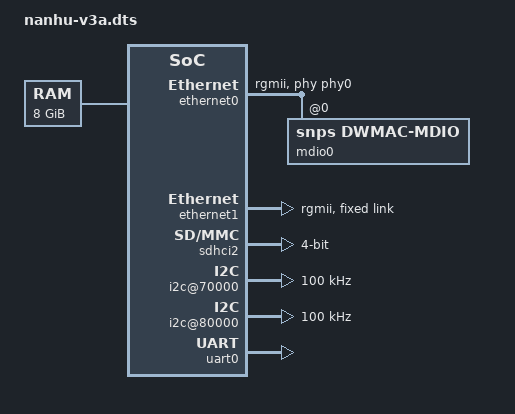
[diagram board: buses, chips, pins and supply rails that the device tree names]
// SPDX-License-Identifier: (GPL-2.0 OR MIT)
/* Copyright (c) 2023-2024 BOSC */

/dts-v1/;

/ {
	#address-cells = <2>;
	#size-cells = <2>;
	compatible = "bosc,nanhu-v3a";

	cpus {
		#address-cells = <1>;
		#size-cells = <0>;
	        timebase-frequency = <24000000>;

		cpu0: cpu@0 {
			clock-frequency = <100000000>;
			compatible = "bosc,nanhu-v3a", "riscv";
			d-cache-block-size = <64>;
			d-cache-sets = <64>;
			d-cache-size = <16384>;
			d-tlb-sets = <1>;
			d-tlb-size = <32>;
			device_type = "cpu";
			i-cache-block-size = <64>;
			i-cache-sets = <64>;
			i-cache-size = <16384>;
			i-tlb-sets = <1>;
			i-tlb-size = <32>;
			mmu-type = "riscv,sv39";
			next-level-cache = <&memory>;
			reg = <0x0>;
			riscv,isa = "rv64imafdcv";
			status = "okay";
			timebase-frequency = <24000000>;
			tlb-split;

			cpu0_intc: interrupt-controller {
				#interrupt-cells = <1>;
				compatible = "riscv,cpu-intc";
				interrupt-controller;
			};
		};

		cpu1: cpu@1 {
			clock-frequency = <0>;
			compatible = "bosc,nanhu-v3a", "riscv";
			d-cache-block-size = <64>;
			d-cache-sets = <64>;
			d-cache-size = <16384>;
			d-tlb-sets = <1>;
			d-tlb-size = <32>;
			device_type = "cpu";
			i-cache-block-size = <64>;
			i-cache-sets = <64>;
			i-cache-size = <16384>;
			i-tlb-sets = <1>;
			i-tlb-size = <32>;
			mmu-type = "riscv,sv39";
			next-level-cache = <&memory>;
			reg = <0x1>;
			riscv,isa = "rv64imafdcv";
			status = "okay";
			timebase-frequency = <24000000>;
			tlb-split;

			cpu1_intc: interrupt-controller {
				#interrupt-cells = <1>;
				compatible = "riscv,cpu-intc";
				interrupt-controller;
			};
		};

	};

	soc {
		#address-cells = <2>;
		#size-cells = <2>;
		compatible = "bosc,nanhu-v3a-soc", "simple-bus";
		ranges;


		clint0: clint@38000000 {
			compatible = "riscv,clint0";
			interrupts-extended = <&cpu0_intc 3 &cpu0_intc 7 &cpu1_intc 3 &cpu1_intc 7>;
			reg = <0x0 0x38000000 0x0 0x10000>;
			reg-names = "control";
			clock-frequency-mhz = <10>;
		};

		PLIC: interrupt-controller@3c000000 {
			#interrupt-cells = <1>;
			compatible = "riscv,plic0";
			interrupt-controller;
			interrupts-extended = <&cpu0_intc 0xb &cpu0_intc 0x9 &cpu1_intc 0xb &cpu1_intc 0x9>;
			reg = <0 0x3c000000 0 0x4000000>;
			reg-names = "control";
			riscv,max-priority = <7>;
			riscv,ndev = <128>;
		};

		clkc: misc_clk_0 {
			#clock-cells = <0>;
			clock-frequency = <100000000>;
			compatible = "fixed-clock";
		};
		clkb: misc_clk_1 {
			#clock-cells = <0>;
			clock-frequency = <25000000>;
			compatible = "fixed-clock";
		};
                  
                ethernet0: ethernet@190000 {
                        compatible = "st,stm32-dwmac", "snps,dwmac-3.50a";
                        reg = <0 0x190000 0 0x10000>;
                        reg-names = "stmmaceth";
                        interrupt-parent = <&PLIC>;
                        interrupts = <76 75 74>;
                        interrupt-names = "eth_lpi", "macirq", "eth_wake_irq";
                        clock-names = "stmmaceth";
                        clocks = <&clkc>;
                        snps,pbl = <2>;
                        snps,mixed-burst;
                        phy-mode = "rgmii";
                        phy-handle = <&phy0>;
                        mdio0: midi-bus@0 {
                             #address-cells = <0x1>;
                             #size-cells = <0x0>;
                             compatible = "snps,dwmac-mdio";
                             phy0: phy@0 {
                                phyaddr = <0x0>;
                                compatible = "marvell,88E1510";
                                device_type = "ethernet-phy";
                                reg = <0x0>;
                             };
                             phy1: phy@1 {
                                phyaddr = <0x1>;
                                compatible = "marvell,88E1510";
                                device_type = "ethernet-phy";
                                reg = <0x1>;
                             };
                        };
                };
                ethernet1: ethernet@1a0000 {
                        compatible = "st,stm32-dwmac", "snps,dwmac-3.50a";
                        reg = <0 0x1a0000 0 0x10000>;
                        reg-names = "stmmaceth1";
                        interrupt-parent = <&PLIC>;
                        interrupts = <73 72 71>;
                        interrupt-names = "eth_lpi", "macirq", "eth_wake_irq";
                        clock-names = "stmmaceth";
                        clocks = <&clkc>;
                        snps,pbl = <2>;
                        snps,mixed-burst;
                        phy-mode = "rgmii";
                        fixed-link{
                            speed =  <1000>;
                            full-duplex;
                            pause;
                            asym-pause;
                        };
                };

               sdhci2: sdhci@1200000 {
	               compatible = "snps,dwcmshc-sdhci";
	               reg = <0 0x1200000 0 0x20000>;
	               interrupt-parent = <&PLIC>;
	               interrupts = <77 78>;
	               clocks = <&clkb>;
	               clock-names = "core";
                       no-1-8-v;
	               disable-wp;
	               bus-width = <4>;
		       max_req_size = <4096>;
		       status = "okay";
	       };

               i2c0_clock: i2c0_clck {            
                        #clock-cells = <0>;
                        clock-frequency = <100000000>;
                        compatible = "fixed-clock";
               };
            
               i2c@70000 { 
                        compatible = "snps,designware-i2c";  
                        #address-cells = <1>; 
                        #size-cells = <0>;
                        reg = <0x0 0x70000 0x0 0x10000>;
                        interrupts = <66>;
                        interrupt-parent = <&PLIC>;
                        clock-frequency = <100000>;
                        clocks = <&i2c0_clock>;
                        status = "okay";
                };
               i2c@80000 { 
                        compatible = "snps,designware-i2c";  
                        #address-cells = <1>; 
                        #size-cells = <0>;
                        reg = <0x0 0x80000 0x0 0x10000>;
                        interrupts = <65>;
                        interrupt-parent = <&PLIC>;
                        clock-frequency = <100000>;
                        clocks = <&i2c0_clock>;
                        status = "okay";
                };

		uart0: serial@50000 {
			compatible = "ns16550a";
			reg = <0x0 0x50000 0x0 0x10000>;
			reg-shift = <0x02>;
			reg-io-width = <0x04>;
			interrupt-parent = <&PLIC>;
			interrupts = <68>;
			clock-frequency = <100000000>;
			status = "okay";
		};
	};

	memory: memory@100000000 {
		device_type = "memory";
		reg = <0x0 0x80000000 0x2 0x00000000>;
	};
	aliases {
		serial0 = &uart0;
	};

	chosen {
                bootargs = "console=ttyS0,115200 earlycon";
		stdout-path = "serial0:115200n8";
	};
};
